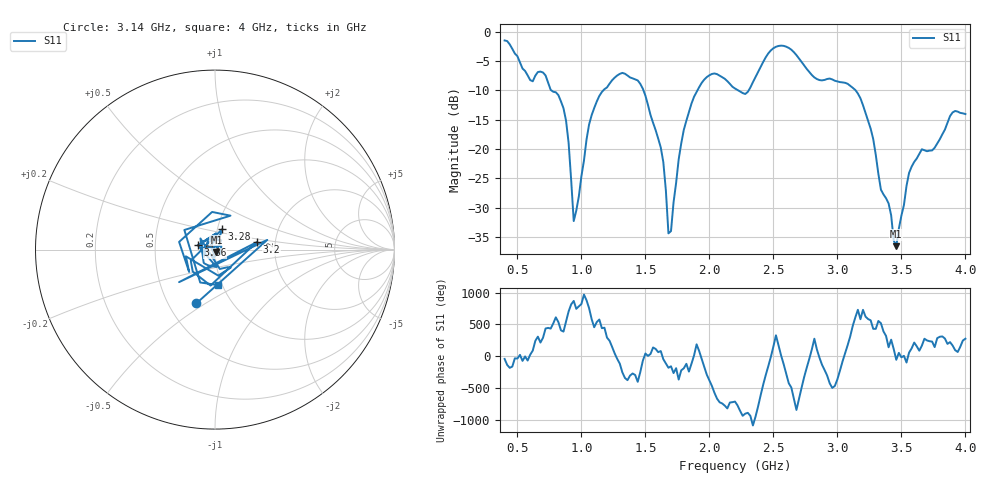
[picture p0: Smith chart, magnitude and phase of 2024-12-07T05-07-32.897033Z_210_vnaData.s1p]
!Created with skrf (http://scikit-rf.org).
# Hz S RI R 50.0
!freq ReS11 ImS11
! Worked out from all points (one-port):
!   181 points, 400 MHz to 4 GHz, reference 50 ohm
!   lowest |S11| = -36.6 dB at 3.46 GHz (marker M1), VSWR 1.03, Z = 50.8 - j1.27 ohm
!   |S11| at or under -10 dB: 763.4 MHz to 1.173 GHz (409.1 MHz wide, 42.3 % of centre); 1.484 GHz to 1.907 GHz (423 MHz wide, 24.9 % of centre); 3.141 GHz to end of sweep (the widest 3 of 4)
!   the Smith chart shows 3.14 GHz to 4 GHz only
!   S11 on the Smith chart (normalised r, x): 3.14 GHz: 0.69, -0.46; 3.2 GHz: 1.60, +0.14; 3.28 GHz: 1.06, +0.24; 3.66 GHz: 0.82, +0.04; 4 GHz: 0.95, -0.39
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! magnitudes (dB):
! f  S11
! 400 MHz  -1.5
! 860 MHz  -13.1
! 900 MHz  -19.0
! 940 MHz  -32.3
! 1.08 GHz  -14.3
! 1.3 GHz  -7.2
! 1.5 GHz  -10.9
! 1.64 GHz  -22.3
! 1.68 GHz  -34.4
! 1.7 GHz  -34.0
! 1.76 GHz  -21.8
! 1.86 GHz  -12.3
! 1.96 GHz  -8.2
! 2.2 GHz  -9.7
! 2.3 GHz  -10.3
! 2.5 GHz  -2.8
! 2.66 GHz  -3.5
! 2.84 GHz  -8.1
! 3.1 GHz  -9.2
! 3.14 GHz  -10.0
! 3.2 GHz  -12.6
! 3.28 GHz  -18.3
! 3.34 GHz  -26.9
! 3.4 GHz  -29.3
! 3.46 GHz  -36.6
! 3.56 GHz  -24.1
! 3.66 GHz  -20.1
! 4 GHz  -14.1
